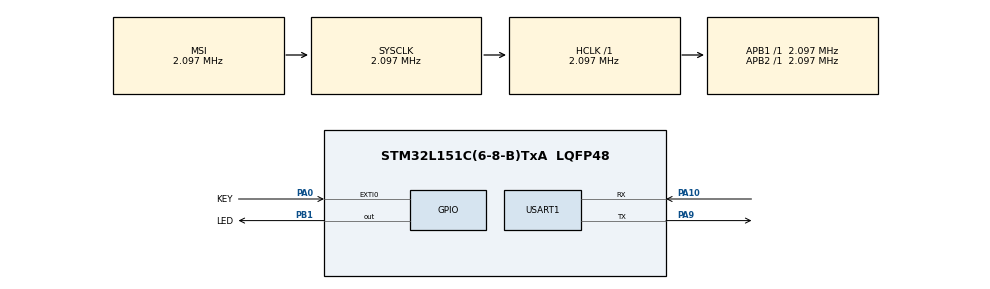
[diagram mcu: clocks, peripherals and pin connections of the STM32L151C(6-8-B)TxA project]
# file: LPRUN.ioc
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Mcu.Family=STM32L1
Mcu.Name=STM32L151C(6-8-B)TxA
Mcu.Package=LQFP48
NVIC.EXTI0_IRQn=true\:0\:0\:false
NVIC.PriorityGroup=NVIC_PRIORITYGROUP_4
PA0-WKUP1.GPIO_Label=KEY
PA0-WKUP1.GPIO_ModeDefaultEXTI=GPIO_MODE_IT_RISING
PA0-WKUP1.GPIO_PuPd=GPIO_PULLDOWN
PA0-WKUP1.Signal=GPXTI0
PA10.Mode=Asynchronous
PA10.Signal=USART1_RX
PA13.Mode=Serial-Wire
PA13.Signal=SYS_JTMS-SWDIO
PA14.Mode=Serial-Wire
PA14.Signal=SYS_JTCK-SWCLK
PA9.Mode=Asynchronous
PA9.Signal=USART1_TX
PB1.GPIO_Label=LED
PB1.GPIO_PuPd=GPIO_NOPULL
PB1.Signal=GPIO_Output
ProjectManager.HeapSize=0x400
ProjectManager.StackSize=0x200
ProjectManager.TargetToolchain=MDK-ARM V5
RCC.AHBFreq_Value=2097000
RCC.APB1Freq_Value=2097000
RCC.APB1TimFreq_Value=2097000
RCC.APB2Freq_Value=2097000
RCC.APB2TimFreq_Value=2097000
RCC.HCLKFreq_Value=2097000
RCC.HSE_VALUE=8000000
RCC.HSI_VALUE=16000000
RCC.LSE_VALUE=32768
RCC.MSI_VALUE=2097000
RCC.PLLMUL=RCC_PLL_MUL4
RCC.RTCClockSelection=RCC_RTCCLKSOURCE_LSI
RCC.RTCClockSelectionVirtual=RCC_RTCCLKSOURCE_LSI
RCC.SYSCLKFreq_VALUE=2097000
RCC.USBOutput=32000000
RCC.VCOOutputFreq_Value=64000000
board=LPRUN

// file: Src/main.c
/**
******************************************************************************
* File Name          : main.c
* Description        : Main program body
******************************************************************************
*
* COPYRIGHT(c) 2015 STMicroelectronics
*
* Redistribution and use in source and binary forms, with or without modification,
* are permitted provided that the following conditions are met:
*   1. Redistributions of source code must retain the above copyright notice,
*      this list of conditions and the following disclaimer.
*   2. Redistributions in binary form must reproduce the above copyright notice,
*      this list of conditions and the following disclaimer in the documentation
*      and/or other materials provided with the distribution.
*   3. Neither the name of STMicroelectronics nor the names of its contributors
*      may be used to endorse or promote products derived from this software
*      without specific prior written permission.
*
* THIS SOFTWARE IS PROVIDED BY THE COPYRIGHT HOLDERS AND CONTRIBUTORS "AS IS"
* AND ANY EXPRESS OR IMPLIED WARRANTIES, INCLUDING, BUT NOT LIMITED TO, THE
* IMPLIED WARRANTIES OF MERCHANTABILITY AND FITNESS FOR A PARTICULAR PURPOSE ARE
* DISCLAIMED. IN NO EVENT SHALL THE COPYRIGHT HOLDER OR CONTRIBUTORS BE LIABLE
* FOR ANY DIRECT, INDIRECT, INCIDENTAL, SPECIAL, EXEMPLARY, OR CONSEQUENTIAL
* DAMAGES (INCLUDING, BUT NOT LIMITED TO, PROCUREMENT OF SUBSTITUTE GOODS OR
* SERVICES; LOSS OF USE, DATA, OR PROFITS; OR BUSINESS INTERRUPTION) HOWEVER
* CAUSED AND ON ANY THEORY OF LIABILITY, WHETHER IN CONTRACT, STRICT LIABILITY,
* OR TORT (INCLUDING NEGLIGENCE OR OTHERWISE) ARISING IN ANY WAY OUT OF THE USE
* OF THIS SOFTWARE, EVEN IF ADVISED OF THE POSSIBILITY OF SUCH DAMAGE.
*
******************************************************************************
*/
#include "stm32l1xx_hal.h"
#include "usart.h"
#include "gpio.h"

/* USER CODE BEGIN PV */
/* Private variables ---------------------------------------------------------*/

/* USER CODE END PV */

void SystemClock_Config(void);

/* USER CODE BEGIN PFP */
/* Private function prototypes -----------------------------------------------*/
void Power_Enter_LPRun(void);
void Power_Exit_LPRun(void);
/* USER CODE END PFP */

int main(void)
{

	/* USER CODE BEGIN 1 */
	__IO uint8_t sec = 0;
	/* USER CODE END 1 */

	/* MCU Configuration----------------------------------------------------------*/

	/* Reset of all peripherals, Initializes the Flash interface and the Systick. */
	HAL_Init();

	/* Configure the system clock */
	SystemClock_Config();

	/* Initialize all configured peripherals */
	MX_GPIO_Init();
	MX_USART1_UART_Init();

	/* USER CODE BEGIN 2 */

	// 禁用比较器
	__COMP_CLK_DISABLE();

	// 禁止 PVD
	HAL_PWR_DisablePVD();

	/* Disable Prefetch Buffer */
	__HAL_FLASH_PREFETCH_BUFFER_DISABLE();

	LED_ON;

	// 允许/禁用 调试端口 少800uA
	HAL_DBGMCU_DisableDBGStopMode();

	/* USER CODE END 2 */

	/* Infinite loop */
	/* USER CODE BEGIN WHILE */
	while (1)
	{
		// 等待Walkup 按下
		while(WK_UP != GPIO_PIN_RESET)
		{
		}
		// 等待Walkup 释放
		while(WK_UP == GPIO_PIN_RESET)
		{
		}
		if(sec==RESET){
			sec=SET;
			printf("Go To Low Power Run\r\n");
			Power_Enter_LPRun();
		}else{
			sec=RESET;
			Power_Exit_LPRun();
			printf("Go To Main Run\r\n");
		}

		/* USER CODE END WHILE */

	}

}

/** System Clock Configuration
*/
void SystemClock_Config(void)
{

	RCC_OscInitTypeDef RCC_OscInitStruct;
	RCC_ClkInitTypeDef RCC_ClkInitStruct;

	__PWR_CLK_ENABLE();

	// 最低电压范围 0~4Mhz
	__HAL_PWR_VOLTAGESCALING_CONFIG(PWR_REGULATOR_VOLTAGE_SCALE3);

	RCC_OscInitStruct.OscillatorType = RCC_OSCILLATORTYPE_MSI;
	RCC_OscInitStruct.MSIState = RCC_MSI_ON;
	RCC_OscInitStruct.MSICalibrationValue = 0;
	RCC_OscInitStruct.MSIClockRange = RCC_MSIRANGE_5;
	RCC_OscInitStruct.PLL.PLLState = RCC_PLL_NONE;
	HAL_RCC_OscConfig(&RCC_OscInitStruct);

	RCC_ClkInitStruct.ClockType = RCC_CLOCKTYPE_SYSCLK;
	RCC_ClkInitStruct.SYSCLKSource = RCC_SYSCLKSOURCE_MSI;
	RCC_ClkInitStruct.AHBCLKDivider = RCC_SYSCLK_DIV1;
	RCC_ClkInitStruct.APB1CLKDivider = RCC_HCLK_DIV1;
	RCC_ClkInitStruct.APB2CLKDivider = RCC_HCLK_DIV1;
	HAL_RCC_ClockConfig(&RCC_ClkInitStruct, FLASH_LATENCY_0);

	HAL_SYSTICK_Config(HAL_RCC_GetHCLKFreq()/1000);

	HAL_SYSTICK_CLKSourceConfig(SYSTICK_CLKSOURCE_HCLK);

	/* SysTick_IRQn interrupt configuration */
	HAL_NVIC_SetPriority(SysTick_IRQn, 0, 0);
}

/* USER CODE BEGIN 4 */

void Power_Enter_LPRun(void)
{
	LED_OFF;
	// 系统时钟必须128Khz以下
	// 设置时钟为 MSI = 65.536 KHz
	__HAL_RCC_MSI_RANGE_CONFIG(RCC_MSIRANGE_0);
	HAL_PWREx_EnableLowPowerRunMode();
	// 等待进入低功耗运行模式
	while(__HAL_PWR_GET_FLAG(PWR_FLAG_REGLP) == RESET)
	{
	}
}
void Power_Exit_LPRun(void)
{

	HAL_PWREx_DisableLowPowerRunMode();
	// 等待退出低功耗运行模式
	while(__HAL_PWR_GET_FLAG(PWR_FLAG_REGLP) != RESET)
	{
	}
	// 设置时钟为 MSI = 2.097 MHz
	__HAL_RCC_MSI_RANGE_CONFIG(RCC_MSIRANGE_5);
	LED_ON;
}

//===================================================  printf uart1
#ifdef __GNUC__
/* With GCC/RAISONANCE, small printf (option LD Linker->Libraries->Small printf
set to 'Yes') calls __io_putchar() */
#define PUTCHAR_PROTOTYPE int __io_putchar(int ch)
#else
#define PUTCHAR_PROTOTYPE int fputc(int ch, FILE *f)
#endif
PUTCHAR_PROTOTYPE
{
	while(__HAL_UART_GET_FLAG(&huart1, UART_FLAG_TC) == RESET);
#ifdef __STM32F0xx_HAL_H

	huart1.Instance->TDR = (uint8_t)ch;
#endif

#ifdef __STM32F1xx_HAL_H
	huart1.Instance->DR = (uint8_t)ch;
#endif

#ifdef __STM32L1xx_HAL_H
	huart1.Instance->DR = (uint8_t)ch;
#endif

	return ch;
}

/* USER CODE END 4 */

/************************ (C) COPYRIGHT STMicroelectronics *****END OF FILE****/
